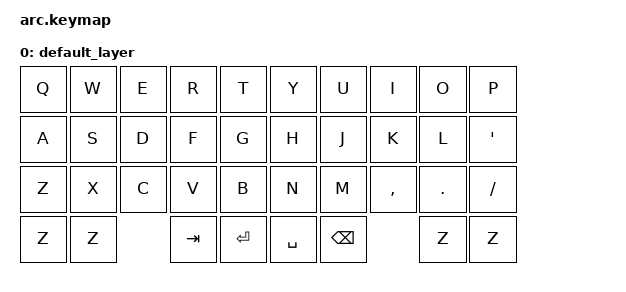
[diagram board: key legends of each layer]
#include <behaviors.dtsi>
#include <dt-bindings/zmk/keys.h>
#include <dt-bindings/zmk/bt.h>

/ {

    keymap {
        compatible = "zmk,keymap";

        default_layer {
            bindings = <
                &kp Q      &kp W      &kp E       &kp R          &kp T         &kp Y            &kp U          &kp I       &kp O      &kp P
                &kp A      &kp S      &kp D       &kp F          &kp G         &kp H            &kp J          &kp K       &kp L      &kp QUOT
                &kp Z      &kp X      &kp C       &kp V          &kp B         &kp N            &kp M          &kp COMMA   &kp DOT    &kp FSLH
                &kp Z      &kp Z                  &kp TAB        &kp ENTER     &kp SPACE        &kp BKSP                   &kp Z      &kp Z
            >;
        };

    };
};
